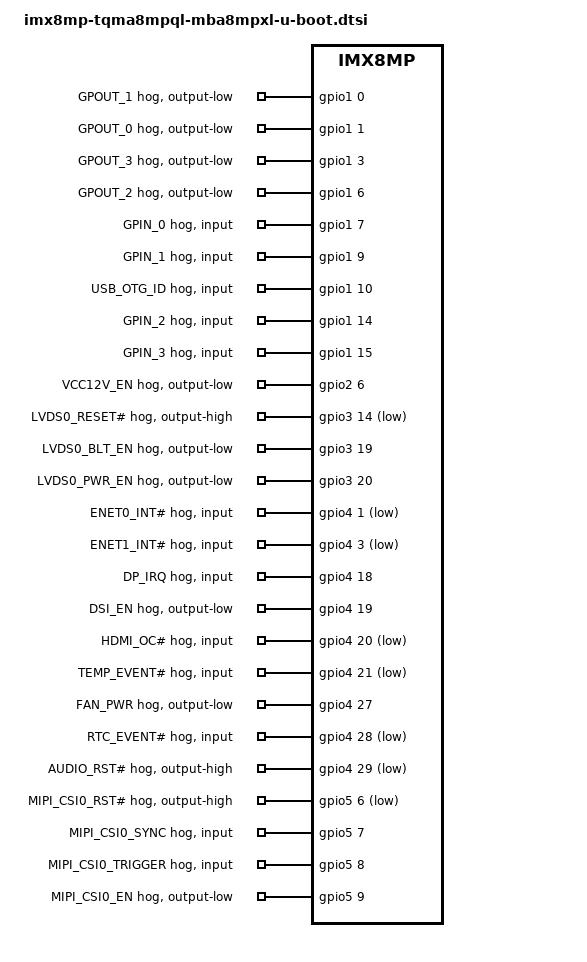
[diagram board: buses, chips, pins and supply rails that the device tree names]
// SPDX-License-Identifier: GPL-2.0-or-later OR MIT
/*
 * Copyright (c) 2021-2026 TQ-Systems GmbH <u-boot@ew.tq-group.com>,
 * D-82229 Seefeld, Germany.
 * Author: Markus Niebel
 */

/* SOM shared settings for U-Boot */
#include "imx8mp-tqma8mpql-u-boot.dtsi"

/ {
	config {
		/* 64 kiB redundant env */
		u-boot,mmc-env-offset = <0x400000>;
		u-boot,mmc-env-offset-redundant = <0x410000>;
	};
};

&gpio1 {
	gpout1-hog {
		gpio-hog;
		gpios = <0 GPIO_ACTIVE_HIGH>;
		output-low;
		line-name = "GPOUT_1";
	};

	gpout0-hog {
		gpio-hog;
		gpios = <1 GPIO_ACTIVE_HIGH>;
		output-low;
		line-name = "GPOUT_0";
	};

	gpout3-hog {
		gpio-hog;
		gpios = <3 GPIO_ACTIVE_HIGH>;
		output-low;
		line-name = "GPOUT_3";
	};

	gpout2-hog {
		gpio-hog;
		gpios = <6 GPIO_ACTIVE_HIGH>;
		output-low;
		line-name = "GPOUT_2";
	};

	gpin0-hog {
		gpio-hog;
		gpios = <7 GPIO_ACTIVE_HIGH>;
		input;
		line-name = "GPIN_0";
	};

	gpin1-hog {
		gpio-hog;
		gpios = <9 GPIO_ACTIVE_HIGH>;
		input;
		line-name = "GPIN_1";
	};

	usb-otg-id-hog {
		gpio-hog;
		gpios = <10 GPIO_ACTIVE_HIGH>;
		input;
		line-name = "USB_OTG_ID";
	};

	gpin2-hog {
		gpio-hog;
		gpios = <14 GPIO_ACTIVE_HIGH>;
		input;
		line-name = "GPIN_2";
	};

	gpin3-hog {
		gpio-hog;
		gpios = <15 GPIO_ACTIVE_HIGH>;
		input;
		line-name = "GPIN_3";
	};
};

&gpio2 {
	vcc12v-en-hog {
		gpio-hog;
		gpios = <6 GPIO_ACTIVE_HIGH>;
		output-low;
		line-name = "VCC12V_EN";
	};
};

&gpio3 {
	lvds0-resetn-hog {
		gpio-hog;
		gpios = <14 GPIO_ACTIVE_LOW>;
		output-high;
		line-name = "LVDS0_RESET#";
	};

	lvds0-blt-en-hog {
		gpio-hog;
		gpios = <19 GPIO_ACTIVE_HIGH>;
		output-low;
		line-name = "LVDS0_BLT_EN";
	};

	lvds0-pwr-en-hog {
		gpio-hog;
		gpios = <20 GPIO_ACTIVE_HIGH>;
		output-low;
		line-name = "LVDS0_PWR_EN";
	};
};

&gpio4 {
	enet0-intn-hog {
		gpio-hog;
		gpios = <1 GPIO_ACTIVE_LOW>;
		input;
		line-name = "ENET0_INT#";
	};

	enet1-intn-hog {
		gpio-hog;
		gpios = <3 GPIO_ACTIVE_LOW>;
		input;
		line-name = "ENET1_INT#";
	};

	dp-irq-hog {
		gpio-hog;
		gpios = <18 GPIO_ACTIVE_HIGH>;
		input;
		line-name = "DP_IRQ";
	};

	dsi-en-hog {
		gpio-hog;
		gpios = <19 GPIO_ACTIVE_HIGH>;
		output-low;
		line-name = "DSI_EN";
	};

	hdmi-ocn-hog {
		gpio-hog;
		gpios = <20 GPIO_ACTIVE_LOW>;
		input;
		line-name = "HDMI_OC#";
	};

	temp-eventn-hog {
		gpio-hog;
		gpios = <21 GPIO_ACTIVE_LOW>;
		input;
		line-name = "TEMP_EVENT#";
	};

	fan-pwr-hog {
		gpio-hog;
		gpios = <27 GPIO_ACTIVE_HIGH>;
		output-low;
		line-name = "FAN_PWR";
	};

	rtc-eventn-hog {
		gpio-hog;
		gpios = <28 GPIO_ACTIVE_LOW>;
		input;
		line-name = "RTC_EVENT#";
	};

	audio-rstn-hog {
		gpio-hog;
		gpios = <29 GPIO_ACTIVE_LOW>;
		output-high;
		line-name = "AUDIO_RST#";
	};
};

&gpio5 {
	mipi-csi0-rstn-hog {
		gpio-hog;
		gpios = <6 GPIO_ACTIVE_LOW>;
		output-high;
		line-name = "MIPI_CSI0_RST#";
	};

	mipi-csi0-sync-hog {
		gpio-hog;
		gpios = <7 GPIO_ACTIVE_HIGH>;
		input;
		line-name = "MIPI_CSI0_SYNC";
	};

	mipi-csi0-trigger-hog {
		gpio-hog;
		gpios = <8 GPIO_ACTIVE_HIGH>;
		input;
		line-name = "MIPI_CSI0_TRIGGER";
	};

	mipi-csi0-en-hog {
		gpio-hog;
		gpios = <9 GPIO_ACTIVE_HIGH>;
		output-low;
		line-name = "MIPI_CSI0_EN";
	};
};

&pcie {
	status = "disabled";
};

&pcie_phy {
	status = "disabled";
};

&pinctrl_gpio1 {
	bootph-pre-ram;
};

&pinctrl_uart4 {
	bootph-pre-ram;
};

&uart4 {
	bootph-pre-ram;
};

&usdhc2 {
	sd-uhs-sdr104;
	sd-uhs-ddr50;
	assigned-clocks = <&clk IMX8MP_CLK_USDHC2>;
	assigned-clock-rates = <400000000>;
};

&wdog1 {
	u-boot,noautostart;
	timeout-sec = <60>;
};
